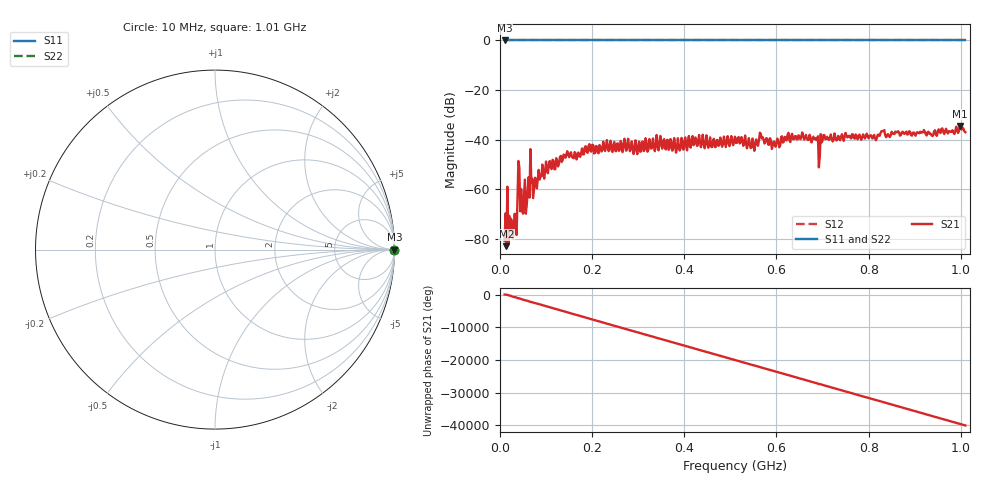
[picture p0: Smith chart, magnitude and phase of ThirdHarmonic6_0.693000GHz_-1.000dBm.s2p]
! 8/15/2025 11:09:17 PM
! C:\ANRITSUVNA\TEMP\TEMP.S2P
! CHANNEL.1
! TR.MEASUREMENT
! RAW.DATA
! RF.CORRECTION.OFF
! AVERAGING.OFF
! IF.BANDWIDTH: 5KHZ
! SWEEPTYPE:  FREQ.SWEEP(Linear)
! Reference Plane Port Info
! PORT:  PORT1  PORT2
! DISTANCE:  0  m  0  m
! TIME:  0  s  0  s
! PHASE.OFFSET:  0  deg.  0  deg.
! LOSS:  0  dB  0  dB
! REF.LOSS:  0  dB  0  dB
! REF.FREQ:  0  Hz  0  Hz
! Power Info
! POWER:  -20  dBm  -20  dBm
! EFF.POWER:  -20  dBm  -20  dBm
! SOURCE.ATTEN:  0  dB  0  dB
! TEST.ATTEN:  0  dB  0  dB
# GHZ S RI R 50.0
! FREQ.GHZ  S11RE  S11IM  S21RE  S21IM  S12RE  S12IM  S22RE  S22IM
!; PortSelection: Port_12
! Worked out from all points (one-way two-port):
!   501 points, 10 MHz to 1.01 GHz, reference 50 ohm
!   highest |S21| = -34.44 dB at 998 MHz (marker M1); lowest = -82.8 dB at 14 MHz (marker M2)
!   lowest |S11| = 0.0 dB at 10 MHz (marker M3)
!   |S11| at or under -10 dB: nowhere
!   |S22| runs from 0.0 to 0.0 dB; largest |S21 - S12| = 1
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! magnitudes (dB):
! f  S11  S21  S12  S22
! 10 MHz  0.0  -80.7  0.0  0.0
! 14 MHz  0.0  -82.8  0.0  0.0
! 20 MHz  0.0  -70.6  0.0  0.0
! 22 MHz  0.0  -76.8  0.0  0.0
! 32 MHz  0.0  -69.8  0.0  0.0
! 42 MHz  0.0  -51.2  0.0  0.0
! 48 MHz  0.0  -68.4  0.0  0.0
! 60 MHz  0.0  -60.6  0.0  0.0
! 62 MHz  0.0  -55.1  0.0  0.0
! 66 MHz  0.0  -43.8  0.0  0.0
! 76 MHz  0.0  -55.3  0.0  0.0
! 88 MHz  0.0  -54.6  0.0  0.0
! 112 MHz  0.0  -51.8  0.0  0.0
! 178 MHz  0.0  -43.5  0.0  0.0
! 344 MHz  0.0  -44.3  0.0  0.0
! 510 MHz  0.0  -38.8  0.0  0.0
! 678 MHz  0.0  -39.9  0.0  0.0
! 696 MHz  0.0  -37.7  0.0  0.0
! 700 MHz  0.0  -40.2  0.0  0.0
! 844 MHz  0.0  -38.4  0.0  0.0
! 998 MHz  0.0  -34.4  0.0  0.0
! 1.01 GHz  0.0  -36.9  0.0  0.0
